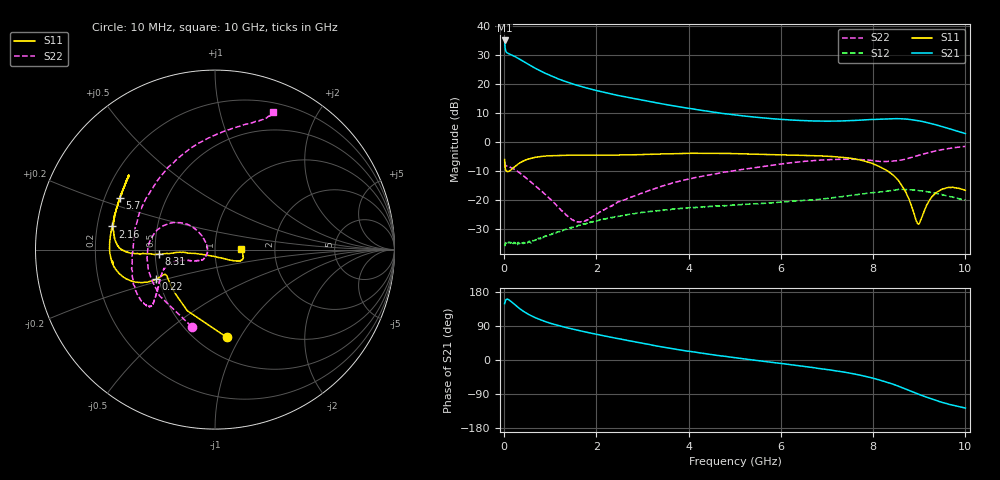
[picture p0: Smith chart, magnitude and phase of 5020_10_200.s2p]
# Hz S  dB  R 50
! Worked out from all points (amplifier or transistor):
!   1000 points, 10 MHz to 10 GHz, reference 50 ohm
!   highest |S21| = 34.9 dB at 10 MHz (marker M1)
!   |S21| within 3 dB of that: start of sweep to 26.16 MHz
!   unconditionally stable (mu >= 1): 53.24 MHz to end of sweep
!   at 1.67 GHz: K = 1.16, MAG = 21.4 dB, |S12| = -28.6 dB
!   at 5.01 GHz: K = 1.11, MAG = 13.5 dB, |S12| = -21.8 dB
!   at 10 GHz: K = 1.11, MAG = 9.4 dB, |S12| = -20.1 dB
!   S11 on the Smith chart (normalised r, x): 10 MHz: 0.68, -0.88; 220 MHz: 0.48, -0.18; 2.16 GHz: 0.26, +0.10; 5.7 GHz: 0.26, +0.24; 8.31 GHz: 0.52, -0.03; 10 GHz: 1.34, +0.01
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1e7  -6.14 -82.4  34.91 148.6  -35.99 33.4  -6.97 -107.0
7e7  -10.31 -150.7  30.60 160.5  -35.07 4.3  -8.45 -175.9
8e7  -10.28 -152.2  30.49 160.2  -35.17 5.6  -8.51 -178.6
1.2e8  -10.00 -153.8  30.21 157.2  -34.86 7.9  -8.71 173.4
2.2e8  -8.71 -153.2  29.49 146.9  -34.73 10.5  -9.52 159.7
3.1e8  -7.60 -154.2  28.72 137.9  -34.78 14.5  -10.47 151.6
4.2e8  -6.60 -157.1  27.69 128.4  -34.73 20.6  -11.77 144.2
5.8e8  -5.71 -161.5  26.18 117.1  -34.91 26.6  -13.84 137.0
7.6e8  -5.15 -166.3  24.62 107.3  -33.42 33.0  -16.35 133.4
9.3e8  -4.89 -170.1  23.31 99.9  -32.47 37.7  -18.72 133.0
1.13e9  -4.73 -174.2  21.95 92.5  -31.30 41.0  -21.86 137.6
1.38e9  -4.63 -178.8  20.49 84.6  -29.95 42.6  -25.75 152.4
1.68e9  -4.61 175.9  19.02 76.1  -28.56 41.7  -27.53 -172.8
2.16e9  -4.64 167.3  17.06 63.9  -26.73 39.7  -23.60 -141.5
3.34e9  -4.26 146.4  13.30 36.4  -23.71 27.9  -15.76 -158.2
5.01e9  -4.10 142.5  9.25 6.0  -21.79 9.8  -9.91 -156.8
5.7e9  -4.39 151.6  8.09 -4.7  -21.11 3.4  -8.36 -146.3
6.67e9  -4.76 168.6  7.18 -19.4  -20.03 -5.7  -6.57 -138.3
8.31e9  -10.04 -175.3  7.88 -58.9  -16.98 -37.1  -6.80 168.7
8.34e9  -10.36 -175.1  7.90 -60.0  -16.94 -38.0  -6.73 166.1
8.97e9  -28.31 -108.6  7.28 -89.4  -16.78 -64.8  -4.75 104.1
1e10  -16.74 2.1  2.82 -126.9  -20.09 -99.3  -1.59 67.2
